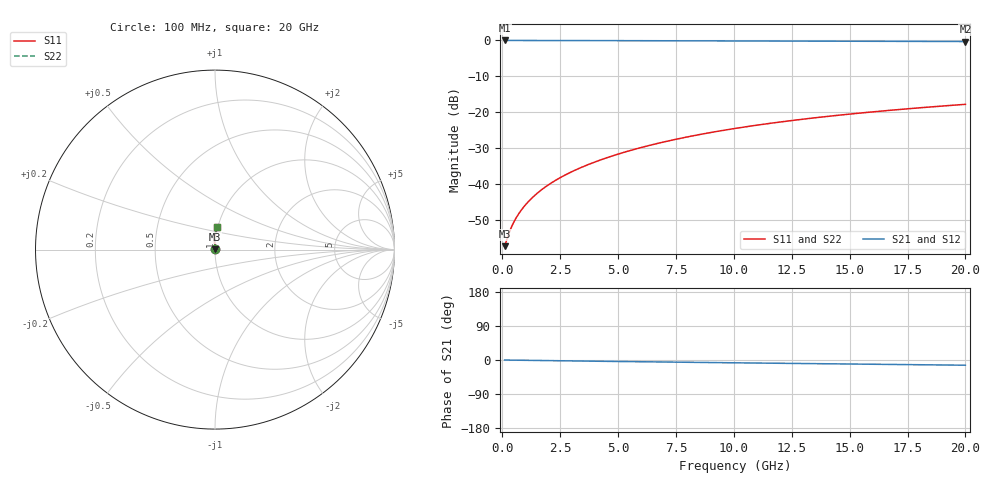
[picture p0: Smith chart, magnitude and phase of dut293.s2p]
! Touchstone file exported from HFSS 2024.1.0
!  File:  C:/UserFiles/LocalFiles/RDL_TSV_Batchsim/temp_RDL_top_293_1778690511.aedt
!  Generated:  12:44:10 AM May 14, 2026
!  Design:  RDL_top
!  Project:  temp_RDL_top_293_1778690511
!  Setup:  Setup1
!  Solution:  Sweep
! Variables:
!  dtsv = 10.80580581um
!  hbump = 3um
!  htsv = 79.76um
!  ldown = 100um
!  lrdl = 182.67um
!  p = 40
!  p1 = 46.53um
!  rhole = 1um
!  t = 450um
!  tdown = 3.915915916um
!  trdl = 2.59um
!  wdown = 15.38538539um
!  wrdl = 28.05um
# GHz S MA R 50.000000
! Terminal data exported
! Port[1] = Box2_T1
! Port[2] = Box2_T2
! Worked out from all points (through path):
!   200 points, 100 MHz to 20 GHz, reference 50 ohm
!   highest |S21| = -0.01 dB at 100 MHz (marker M1); lowest = -0.3 dB at 20 GHz (marker M2)
!   group delay of S21, straight-line fit = 1.88 ps
!   lowest |S11| = -57.2 dB at 100 MHz (marker M3), VSWR 1.00, Z = 50.1 + j0.0575 ohm
!   |S11| at or under -10 dB: start of sweep to end of sweep
!   |S22| runs from -57.2 to -17.8 dB; largest |S21 - S12| = 3.2e-15
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0.1  0.001374 24.7  0.9987 -0.1  0.9987 -0.1  0.001374 24.7
! Gamma 0 0 0 0
! Port Impedance 50 0 50 0
0.3  0.002129 50.4  0.9986 -0.3  0.9986 -0.3  0.002129 50.4
0.4  0.002555 56.6  0.9985 -0.3  0.9985 -0.3  0.002555 56.6
0.5  0.002982 61.0  0.9984 -0.4  0.9984 -0.4  0.002982 61.0
0.6  0.003409 64.5  0.9984 -0.5  0.9984 -0.5  0.003409 64.5
0.8  0.004273 69.8  0.9982 -0.7  0.9982 -0.7  0.004273 69.8
1  0.005155 73.6  0.9981 -0.8  0.9981 -0.8  0.005155 73.6
1.2  0.006057 76.6  0.9979 -1.0  0.9979 -1.0  0.006057 76.6
1.7  0.008389 81.8  0.9975 -1.4  0.9975 -1.4  0.008389 81.8
2.2  0.01082 85.1  0.997 -1.8  0.997 -1.8  0.01082 85.1
2.8  0.01387 87.9  0.9962 -2.3  0.9962 -2.3  0.01387 87.9
3.5  0.0176 90.1  0.9951 -2.8  0.9951 -2.8  0.0176 90.1
4.2  0.02152 91.6  0.9939 -3.3  0.9939 -3.3  0.02152 91.6
5  0.02622 92.7  0.9924 -3.9  0.9924 -3.9  0.02622 92.7
5.9  0.03177 93.4  0.9906 -4.6  0.9906 -4.6  0.03177 93.4
6.8  0.03755 93.7  0.9887 -5.2  0.9887 -5.2  0.03755 93.7
8.4  0.04824 93.3  0.9854 -6.3  0.9854 -6.3  0.04824 93.3
10.1  0.05998 92.4  0.982 -7.5  0.982 -7.5  0.05998 92.4
11.7  0.07121 91.1  0.979 -8.5  0.979 -8.5  0.07121 91.1
13.4  0.08319 89.7  0.976 -9.6  0.976 -9.6  0.08319 89.7
16.7  0.1063 86.8  0.9705 -11.7  0.9705 -11.7  0.1063 86.8
20  0.1291 83.9  0.9653 -13.8  0.9653 -13.8  0.1291 83.9
